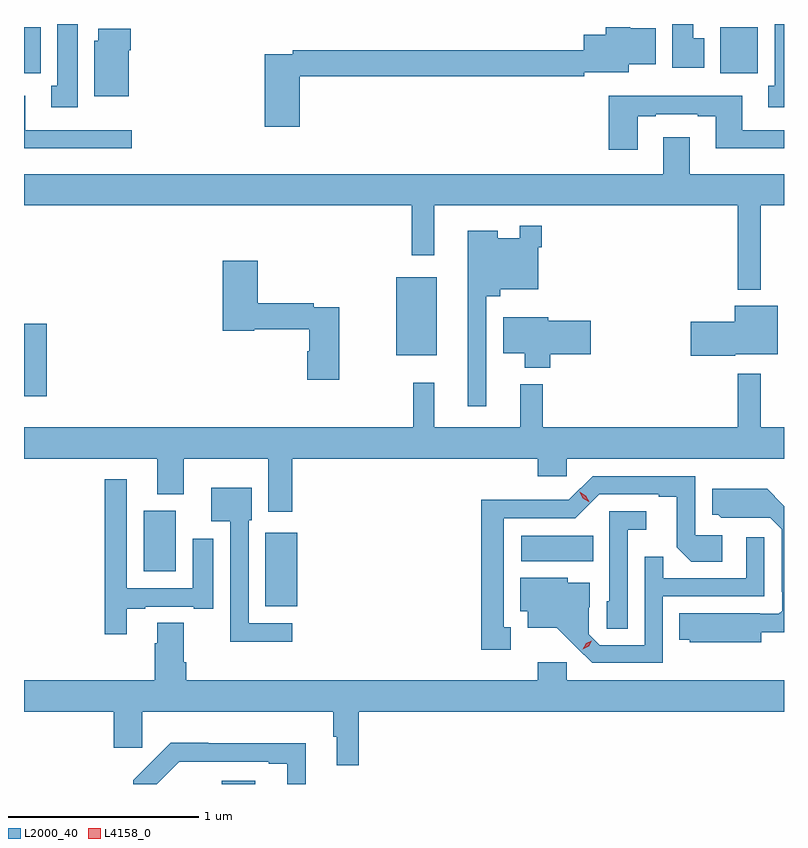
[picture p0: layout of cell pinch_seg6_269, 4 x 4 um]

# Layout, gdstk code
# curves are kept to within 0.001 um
import gdstk
lib = gdstk.Library(unit=1e-6, precision=1e-09)
def R(c, l, rs):  # rectangles x0, y0, x1, y1
    for r in rs: c.add(gdstk.rectangle(r[:2], r[2:], *l))
def P(c, l, *ps):  # polygons
    for p in ps: c.add(gdstk.Polygon(p, *l))
L2000_40 = (2000, 40)
L4158_0 = (4158, 0)

pinch_seg6_269 = lib.new_cell('pinch_seg6_269')
R(pinch_seg6_269, L2000_40, [(880.166,993.575,880.342,993.592), (880.397,994.511,880.564,994.897), (879.755,994.694,879.925,995.014), (881.742,994.748,882.122,994.882), (879.126,995.616,879.245,995.997), (881.084,995.831,881.299,996.241), (879.126,997.316,879.214,997.558), (882.791,997.316,882.988,997.558)])
P(pinch_seg6_269, L2000_40, [(883.126,997.575),(883.076,997.575),(883.076,997.25),(883.043,997.25),(883.043,997.137),(883.126,997.137)],
  [(879.409,997.575),(879.302,997.575),(879.302,997.25),(879.269,997.25),(879.269,997.137),(879.409,997.137)],
  [(882.706,997.5),(882.649,997.5),(882.649,997.575),(882.539,997.575),(882.539,997.344),(882.706,997.344)],
  [(880.577,997.3),(882.075,997.3),(882.075,997.32),(882.31,997.32),(882.31,997.364),(882.451,997.364),(882.451,997.552),(882.318,997.552),(882.318,997.558),(882.188,997.558),(882.188,997.519),(882.071,997.519),(882.071,997.436),(880.54,997.436),(880.54,997.416),(880.394,997.416),(880.394,997.035),(880.577,997.035)],
  [(879.676,997.436),(879.689,997.436),(879.689,997.549),(879.518,997.549),(879.518,997.488),(879.497,997.488),(879.497,997.196),(879.676,997.196)],
  [(882.355,997.089),(882.451,997.089),(882.451,997.101),(882.671,997.101),(882.671,997.089),(882.767,997.089),(882.767,996.92),(883.126,996.92),(883.126,997.017),(882.907,997.017),(882.907,997.198),(882.203,997.198),(882.203,996.912),(882.355,996.912)],
  [(879.694,997.017),(879.133,997.017),(879.133,997.198),(879.126,997.198),(879.126,996.92),(879.694,996.92)],
  [(883.003,996.62),(883.126,996.62),(883.126,996.784),(882.631,996.784),(882.631,996.979),(882.491,996.979),(882.491,996.784),(879.126,996.784),(879.126,996.62),(881.167,996.62),(881.167,996.357),(881.284,996.357),(881.284,996.62),(882.882,996.62),(882.882,996.176),(883.003,996.176)],
  [(881.559,996.143),(881.633,996.143),(881.633,996.179),(881.832,996.179),(881.832,996.401),(881.852,996.401),(881.852,996.514),(881.736,996.514),(881.736,996.448),(881.62,996.448),(881.62,996.487),(881.462,996.487),(881.462,995.562),(881.559,995.562)],
  [(880.786,996.084),(880.652,996.084),(880.652,996.104),(880.355,996.104),(880.355,996.328),(880.172,996.328),(880.172,995.96),(880.338,995.96),(880.338,995.968),(880.628,995.968),(880.628,995.853),(880.616,995.853),(880.616,995.703),(880.786,995.703)],
  [(882.87,995.837),(883.093,995.837),(883.093,996.091),(882.866,996.091),(882.866,996.008),(882.636,996.008),(882.636,995.83),(882.87,995.83)],
  [(881.897,995.836),(882.109,995.836),(882.109,996.014),(881.884,996.014),(881.884,996.031),(881.648,996.031),(881.648,995.843),(881.762,995.843),(881.762,995.765),(881.897,995.765)],
  [(880.538,995.288),(881.831,995.288),(881.831,995.195),(881.982,995.195),(881.982,995.288),(883.126,995.288),(883.126,995.452),(883.003,995.452),(883.003,995.734),(882.882,995.734),(882.882,995.452),(881.855,995.452),(881.855,995.68),(881.738,995.68),(881.738,995.452),(881.285,995.452),(881.285,995.686),(881.175,995.686),(881.175,995.452),(879.126,995.452),(879.126,995.288),(879.827,995.288),(879.827,995.099),(879.967,995.099),(879.967,995.288),(880.412,995.288),(880.412,995.007),(880.538,995.007)],
  [(881.689,994.401),(881.65,994.401),(881.65,994.974),(882.027,994.974),(882.153,995.1),(882.467,995.1),(882.467,995.088),(882.561,995.088),(882.561,994.82),(882.637,994.744),(882.802,994.744),(882.802,994.884),(882.66,994.884),(882.66,995.196),(882.12,995.196),(881.994,995.07),(881.772,995.07),(881.772,995.072),(881.532,995.072),(881.532,994.281),(881.689,994.281)],
  [(879.667,994.497),(879.763,994.497),(879.763,994.509),(880.019,994.509),(880.019,994.497),(880.123,994.497),(880.123,994.867),(880.013,994.867),(880.013,994.605),(879.666,994.605),(879.666,995.179),(879.55,995.179),(879.55,994.362),(879.667,994.362)],
  [(880.537,994.422),(880.308,994.422),(880.308,994.962),(880.324,994.962),(880.324,995.134),(880.112,995.134),(880.112,994.958),(880.212,994.958),(880.212,994.325),(880.537,994.325)],
  [(883.006,994.373),(883.126,994.373),(883.126,995.038),(883.037,995.128),(882.749,995.128),(882.749,994.992),(882.78,994.992),(882.796,994.976),(883.053,994.977),(883.113,994.917),(883.113,994.588),(883.116,994.588),(883.116,994.488),(883.098,994.47),(882.998,994.47),(882.998,994.474),(882.574,994.474),(882.574,994.334),(882.63,994.334),(882.63,994.322),(883.006,994.322)],
  [(882.303,994.913),(882.4,994.913),(882.4,995.01),(882.207,995.01),(882.207,994.536),(882.192,994.536),(882.192,994.393),(882.303,994.393)],
  [(882.489,994.563),(883.023,994.563),(883.023,994.873),(882.927,994.873),(882.927,994.659),(882.491,994.659),(882.491,994.772),(882.393,994.772),(882.393,994.305),(882.156,994.305),(882.099,994.362),(882.099,994.504),(882.103,994.504),(882.103,994.633),(881.988,994.633),(881.988,994.66),(881.738,994.66),(881.738,994.484),(881.777,994.484),(881.777,994.397),(881.929,994.397),(882.116,994.212),(882.489,994.212)],
  [(880.889,993.956),(883.126,993.956),(883.126,994.12),(881.982,994.12),(881.982,994.216),(881.831,994.216),(881.831,994.12),(879.98,994.12),(879.98,994.216),(879.967,994.216),(879.967,994.424),(879.827,994.424),(879.827,994.316),(879.815,994.316),(879.815,994.12),(879.126,994.12),(879.126,993.956),(879.599,993.956),(879.599,993.765),(879.749,993.765),(879.749,993.956),(880.753,993.956),(880.753,993.824),(880.772,993.824),(880.772,993.675),(880.889,993.675)],
  [(879.942,993.693),(880.415,993.693),(880.415,993.681),(880.511,993.681),(880.511,993.575),(880.609,993.575),(880.609,993.79),(880.097,993.79),(880.097,993.793),(879.898,993.793),(879.701,993.595),(879.701,993.575),(879.824,993.575)])
P(pinch_seg6_269, L4158_0, [(882.067,994.284),(882.067,994.285),(882.084,994.315),(882.114,994.33),(882.114,994.33),(882.114,994.33),(882.098,994.3),(882.067,994.284)],
  [(882.099,995.06),(882.068,995.079),(882.051,995.112),(882.051,995.112),(882.051,995.112),(882.083,995.093),(882.1,995.06),(882.1,995.06)])

lib.write_gds('pinch_seg6_269.gds')
